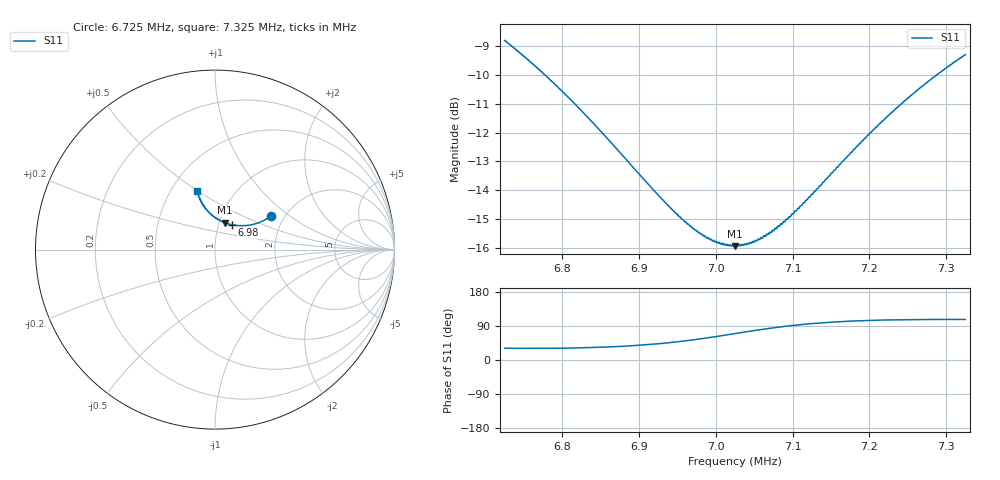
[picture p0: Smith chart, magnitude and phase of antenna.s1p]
! Calibrated high-resolution NanoVNA antenna measurement
# Hz S RI R 50
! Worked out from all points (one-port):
!   1601 points, 6.725 MHz to 7.325 MHz, reference 50 ohm
!   lowest |S11| = -15.9 dB at 7.025 MHz (marker M1), VSWR 1.38, Z = 53.2 + j16.4 ohm
!   |S11| at or under -10 dB: 6.778 MHz to 7.287 MHz (509.9 kHz wide, 7.25 % of centre)
!   S11 on the Smith chart (normalised r, x): 6.725 MHz: 1.70, +0.73; 6.98 MHz: 1.16, +0.33; 7.325 MHz: 0.67, +0.50
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6725000  0.3111 0.1871
6734375  0.3041 0.1822
6759500  0.2854 0.17
6800000  0.2533 0.1539
6840500  0.2186 0.1423
6875000  0.1882 0.1358
6920750  0.147 0.1336
6950000  0.1209 0.1345
6964625  0.1079 0.1367
6979625  0.0945 0.1386
6993500  0.0822 0.142
7004375  0.0731 0.1447
7015250  0.0638 0.1475
7025000  0.0553 0.15
7025375  0.0551 0.1497
7040750  0.0424 0.1558
7058750  0.028 0.1627
7077125  0.0138 0.1709
7088000  0.00552 0.176
7100000  -0.00325 0.1812
7113500  -0.0124 0.1891
7139000  -0.029 0.2036
7175000  -0.0494 0.226
7214000  -0.0684 0.2515
7250000  -0.0819 0.2759
7288625  -0.0925 0.3031
7313375  -0.0981 0.32
7325000  -0.0999 0.3281
